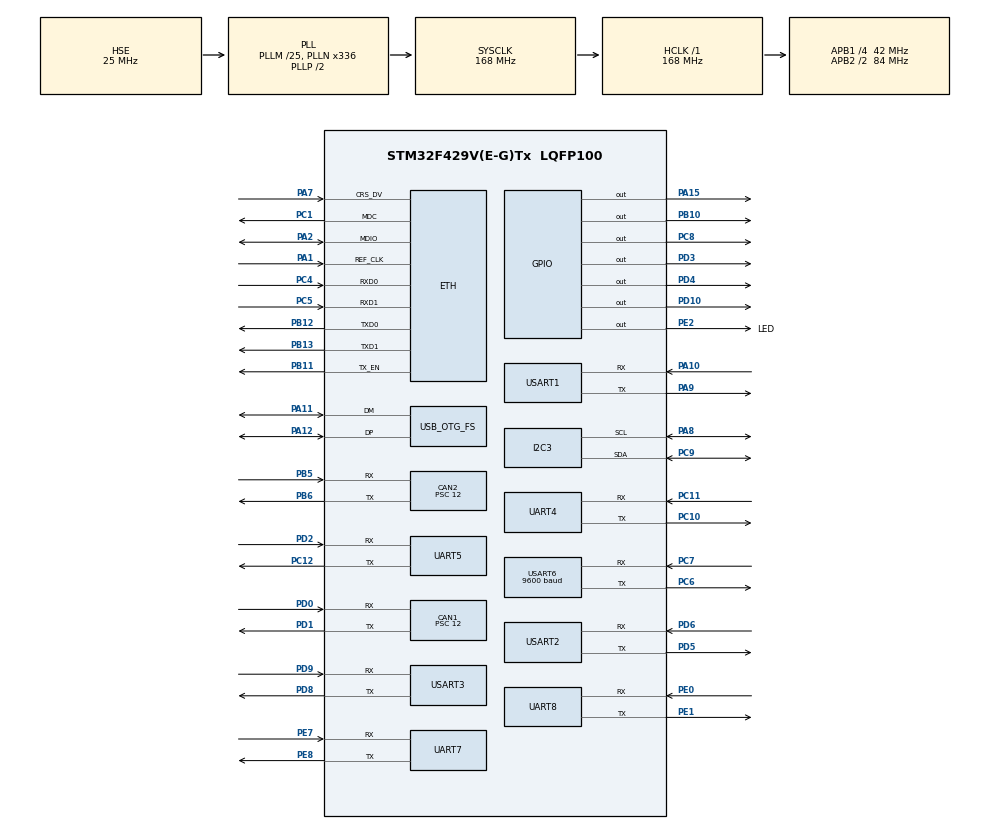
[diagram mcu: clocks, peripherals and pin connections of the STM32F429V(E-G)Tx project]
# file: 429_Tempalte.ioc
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CAN1.BS1=CAN_BS1_11TQ
CAN1.BS2=CAN_BS2_2TQ
CAN1.CalculateBaudRate=250000
CAN1.CalculateTimeBit=4000
CAN1.CalculateTimeQuantum=285.7142857142857
CAN1.Prescaler=12
CAN2.BS1=CAN_BS1_11TQ
CAN2.BS2=CAN_BS2_2TQ
CAN2.CalculateBaudRate=250000
CAN2.CalculateTimeBit=4000
CAN2.CalculateTimeQuantum=285.7142857142857
CAN2.Prescaler=12
Dma.Request0=UART7_RX
Dma.Request1=UART8_RX
Dma.Request10=UART5_TX
Dma.Request2=USART1_RX
Dma.Request3=USART1_TX
Dma.Request4=USART2_RX
Dma.Request5=USART3_RX
Dma.Request6=USART3_TX
Dma.Request7=USART6_RX
Dma.Request8=USART6_TX
Dma.Request9=UART4_RX
Dma.UART4_RX.9.Direction=DMA_PERIPH_TO_MEMORY
Dma.UART4_RX.9.FIFOMode=DMA_FIFOMODE_DISABLE
Dma.UART4_RX.9.Instance=DMA1_Stream2
Dma.UART4_RX.9.MemDataAlignment=DMA_MDATAALIGN_BYTE
Dma.UART4_RX.9.MemInc=DMA_MINC_ENABLE
Dma.UART4_RX.9.Mode=DMA_CIRCULAR
Dma.UART4_RX.9.PeriphDataAlignment=DMA_PDATAALIGN_BYTE
Dma.UART4_RX.9.PeriphInc=DMA_PINC_DISABLE
Dma.UART4_RX.9.Priority=DMA_PRIORITY_LOW
Dma.UART5_TX.10.Direction=DMA_MEMORY_TO_PERIPH
Dma.UART5_TX.10.FIFOMode=DMA_FIFOMODE_DISABLE
Dma.UART5_TX.10.Instance=DMA1_Stream7
Dma.UART5_TX.10.MemDataAlignment=DMA_MDATAALIGN_BYTE
Dma.UART5_TX.10.MemInc=DMA_MINC_ENABLE
Dma.UART5_TX.10.Mode=DMA_CIRCULAR
Dma.UART5_TX.10.PeriphDataAlignment=DMA_PDATAALIGN_BYTE
Dma.UART5_TX.10.PeriphInc=DMA_PINC_DISABLE
Dma.UART5_TX.10.Priority=DMA_PRIORITY_LOW
Dma.UART7_RX.0.Direction=DMA_PERIPH_TO_MEMORY
Dma.UART7_RX.0.FIFOMode=DMA_FIFOMODE_DISABLE
Dma.UART7_RX.0.Instance=DMA1_Stream3
Dma.UART7_RX.0.MemDataAlignment=DMA_MDATAALIGN_BYTE
Dma.UART7_RX.0.MemInc=DMA_MINC_ENABLE
Dma.UART7_RX.0.Mode=DMA_CIRCULAR
Dma.UART7_RX.0.PeriphDataAlignment=DMA_PDATAALIGN_BYTE
Dma.UART7_RX.0.PeriphInc=DMA_PINC_DISABLE
Dma.UART7_RX.0.Priority=DMA_PRIORITY_LOW
Dma.UART8_RX.1.Direction=DMA_PERIPH_TO_MEMORY
Dma.UART8_RX.1.FIFOMode=DMA_FIFOMODE_DISABLE
Dma.UART8_RX.1.Instance=DMA1_Stream6
Dma.UART8_RX.1.MemDataAlignment=DMA_MDATAALIGN_BYTE
Dma.UART8_RX.1.MemInc=DMA_MINC_ENABLE
Dma.UART8_RX.1.Mode=DMA_CIRCULAR
Dma.UART8_RX.1.PeriphDataAlignment=DMA_PDATAALIGN_BYTE
Dma.UART8_RX.1.PeriphInc=DMA_PINC_DISABLE
Dma.UART8_RX.1.Priority=DMA_PRIORITY_LOW
Dma.USART1_RX.2.Direction=DMA_PERIPH_TO_MEMORY
Dma.USART1_RX.2.FIFOMode=DMA_FIFOMODE_DISABLE
Dma.USART1_RX.2.Instance=DMA2_Stream2
Dma.USART1_RX.2.MemDataAlignment=DMA_MDATAALIGN_BYTE
Dma.USART1_RX.2.MemInc=DMA_MINC_ENABLE
Dma.USART1_RX.2.Mode=DMA_CIRCULAR
Dma.USART1_RX.2.PeriphDataAlignment=DMA_PDATAALIGN_BYTE
Dma.USART1_RX.2.PeriphInc=DMA_PINC_DISABLE
Dma.USART1_RX.2.Priority=DMA_PRIORITY_LOW
Dma.USART1_TX.3.Direction=DMA_MEMORY_TO_PERIPH
Dma.USART1_TX.3.FIFOMode=DMA_FIFOMODE_DISABLE
Dma.USART1_TX.3.Instance=DMA2_Stream7
Dma.USART1_TX.3.MemDataAlignment=DMA_MDATAALIGN_BYTE
Dma.USART1_TX.3.MemInc=DMA_MINC_ENABLE
Dma.USART1_TX.3.Mode=DMA_CIRCULAR
Dma.USART1_TX.3.PeriphDataAlignment=DMA_PDATAALIGN_BYTE
Dma.USART1_TX.3.PeriphInc=DMA_PINC_DISABLE
Dma.USART1_TX.3.Priority=DMA_PRIORITY_LOW
Dma.USART2_RX.4.Direction=DMA_PERIPH_TO_MEMORY
Dma.USART2_RX.4.FIFOMode=DMA_FIFOMODE_DISABLE
Dma.USART2_RX.4.Instance=DMA1_Stream5
Dma.USART2_RX.4.MemDataAlignment=DMA_MDATAALIGN_BYTE
Dma.USART2_RX.4.MemInc=DMA_MINC_ENABLE
Dma.USART2_RX.4.Mode=DMA_CIRCULAR
Dma.USART2_RX.4.PeriphDataAlignment=DMA_PDATAALIGN_BYTE
Dma.USART2_RX.4.PeriphInc=DMA_PINC_DISABLE
Dma.USART2_RX.4.Priority=DMA_PRIORITY_LOW
Dma.USART3_RX.5.Direction=DMA_PERIPH_TO_MEMORY
Dma.USART3_RX.5.FIFOMode=DMA_FIFOMODE_DISABLE
Dma.USART3_RX.5.Instance=DMA1_Stream1
Dma.USART3_RX.5.MemDataAlignment=DMA_MDATAALIGN_BYTE
Dma.USART3_RX.5.MemInc=DMA_MINC_ENABLE
Dma.USART3_RX.5.Mode=DMA_CIRCULAR
Dma.USART3_RX.5.PeriphDataAlignment=DMA_PDATAALIGN_BYTE
Dma.USART3_RX.5.PeriphInc=DMA_PINC_DISABLE
Dma.USART3_RX.5.Priority=DMA_PRIORITY_LOW
Dma.USART3_TX.6.Direction=DMA_MEMORY_TO_PERIPH
Dma.USART3_TX.6.FIFOMode=DMA_FIFOMODE_DISABLE
Dma.USART3_TX.6.Instance=DMA1_Stream4
Dma.USART3_TX.6.MemDataAlignment=DMA_MDATAALIGN_BYTE
Dma.USART3_TX.6.MemInc=DMA_MINC_ENABLE
Dma.USART3_TX.6.Mode=DMA_CIRCULAR
Dma.USART3_TX.6.PeriphDataAlignment=DMA_PDATAALIGN_BYTE
Dma.USART3_TX.6.PeriphInc=DMA_PINC_DISABLE
Dma.USART3_TX.6.Priority=DMA_PRIORITY_LOW
Dma.USART6_RX.7.Direction=DMA_PERIPH_TO_MEMORY
Dma.USART6_RX.7.FIFOMode=DMA_FIFOMODE_DISABLE
Dma.USART6_RX.7.Instance=DMA2_Stream1
Dma.USART6_RX.7.MemDataAlignment=DMA_MDATAALIGN_BYTE
Dma.USART6_RX.7.MemInc=DMA_MINC_ENABLE
Dma.USART6_RX.7.Mode=DMA_CIRCULAR
Dma.USART6_RX.7.PeriphDataAlignment=DMA_PDATAALIGN_BYTE
Dma.USART6_RX.7.PeriphInc=DMA_PINC_DISABLE
Dma.USART6_RX.7.Priority=DMA_PRIORITY_LOW
Dma.USART6_TX.8.Direction=DMA_MEMORY_TO_PERIPH
Dma.USART6_TX.8.FIFOMode=DMA_FIFOMODE_DISABLE
Dma.USART6_TX.8.Instance=DMA2_Stream6
Dma.USART6_TX.8.MemDataAlignment=DMA_MDATAALIGN_BYTE
Dma.USART6_TX.8.MemInc=DMA_MINC_ENABLE
Dma.USART6_TX.8.Mode=DMA_CIRCULAR
Dma.USART6_TX.8.PeriphDataAlignment=DMA_PDATAALIGN_BYTE
Dma.USART6_TX.8.PeriphInc=DMA_PINC_DISABLE
Dma.USART6_TX.8.Priority=DMA_PRIORITY_LOW
ETH.MediaInterface=HAL_ETH_RMII_MODE
FREERTOS.MEMORY_ALLOCATION=2
FREERTOS.Tasks01=defaultTask,0,1024,StartDefaultTask,Default,NULL,Dynamic,NULL,NULL;gxAA55SendfromCar,0,1024,GX_AA55_Send_From_CAR_Task,Default,NULL,Dynamic,NULL,NULL;gxAA55RecfromRemoter,2,1024,GX_AA55_REC_Task,Default,NULL,Dynamic,NULL,NULL;sbusReceive,2,1024,SBUS_REC_Task,Default,NULL,Dynamic,NULL,NULL;comMbH,0,1024,Common_Host_Task,Default,NULL,Dynamic,NULL,NULL;driverCtrl,2,1024,Driver_Control_Task,Default,NULL,Dynamic,NULL,NULL
FREERTOS.configENABLE_FPU=1
FREERTOS.configMAX_TASK_NAME_LEN=32
FREERTOS.configTICK_RATE_HZ=100
FREERTOS.configTOTAL_HEAP_SIZE=100000
FREERTOS.configUSE_COUNTING_SEMAPHORES=1
FREERTOS.configUSE_IDLE_HOOK=1
FREERTOS.configUSE_RECURSIVE_MUTEXES=1
FREERTOS.configUSE_TIMERS=1
LWIP.BSP.number=1
LWIP.GATEWAY_ADDRESS=192.168.001.001
LWIP.IP_ADDRESS=192.168.001.122
LWIP.LWIP_DHCP=0
LWIP.LWIP_TCP=1
LWIP.NETMASK_ADDRESS=255.255.255.000
LWIP.Version=v2.1.2_Cube
LWIP0.BSP.STBoard=false
LWIP0.BSP.api=BSP_COMPONENT_DRIVER
LWIP0.BSP.component=LAN8742
LWIP0.BSP.instance=LAN8742
LWIP0.BSP.name=Driver_PHY
LWIP0.BSP.semaphore=S_LAN8742
LWIP0.BSP.solution=LAN8742
Mcu.Family=STM32F4
Mcu.Name=STM32F429V(E-G)Tx
Mcu.Package=LQFP100
NVIC.CAN1_RX0_IRQn=true\:5\:0\:false\:false\:true\:true\:true\:true\:true
NVIC.CAN2_RX0_IRQn=true\:5\:0\:false\:false\:true\:true\:true\:true\:true
NVIC.DMA1_Stream1_IRQn=true\:5\:0\:false\:false\:true\:true\:false\:true\:true
NVIC.DMA1_Stream2_IRQn=true\:5\:0\:false\:false\:true\:true\:false\:true\:true
NVIC.DMA1_Stream3_IRQn=true\:5\:0\:false\:false\:true\:true\:false\:true\:true
NVIC.DMA1_Stream4_IRQn=true\:5\:0\:false\:false\:true\:true\:false\:true\:true
NVIC.DMA1_Stream5_IRQn=true\:5\:0\:false\:false\:true\:true\:false\:true\:true
NVIC.DMA1_Stream6_IRQn=true\:5\:0\:false\:false\:true\:true\:false\:true\:true
NVIC.DMA1_Stream7_IRQn=true\:5\:0\:false\:false\:true\:true\:false\:true\:true
NVIC.DMA2_Stream1_IRQn=true\:5\:0\:false\:false\:true\:true\:false\:true\:true
NVIC.DMA2_Stream2_IRQn=true\:5\:0\:false\:false\:true\:true\:false\:true\:true
NVIC.DMA2_Stream6_IRQn=true\:5\:0\:false\:false\:true\:true\:false\:true\:true
NVIC.DMA2_Stream7_IRQn=true\:5\:0\:false\:false\:true\:true\:false\:true\:true
NVIC.ETH_IRQn=true\:5\:0\:false\:false\:true\:true\:false\:true\:true
NVIC.FPU_IRQn=true\:5\:0\:false\:false\:true\:true\:true\:false\:true
NVIC.OTG_FS_IRQn=true\:5\:0\:false\:false\:true\:true\:false\:true\:true
NVIC.PriorityGroup=NVIC_PRIORITYGROUP_4
NVIC.TIM1_UP_TIM10_IRQn=true\:15\:0\:false\:false\:true\:false\:false\:true\:true
NVIC.TimeBase=TIM1_UP_TIM10_IRQn
NVIC.TimeBaseIP=TIM1
NVIC.UART4_IRQn=true\:5\:0\:false\:false\:true\:true\:true\:true\:true
NVIC.UART5_IRQn=true\:5\:0\:false\:false\:true\:true\:true\:true\:true
NVIC.UART7_IRQn=true\:5\:0\:false\:false\:true\:true\:true\:true\:true
NVIC.UART8_IRQn=true\:5\:0\:false\:false\:true\:true\:true\:true\:true
NVIC.USART1_IRQn=true\:5\:0\:false\:false\:true\:true\:true\:true\:true
NVIC.USART2_IRQn=true\:5\:0\:false\:false\:true\:true\:true\:true\:true
NVIC.USART3_IRQn=true\:5\:0\:false\:false\:true\:true\:true\:true\:true
NVIC.USART6_IRQn=true\:5\:0\:false\:false\:true\:true\:true\:true\:true
PA1.Mode=RMII
PA1.Signal=ETH_REF_CLK
PA10.Mode=Asynchronous
PA10.Signal=USART1_RX
PA11.Mode=Device_Only
PA11.Signal=USB_OTG_FS_DM
PA12.Mode=Device_Only
PA12.Signal=USB_OTG_FS_DP
PA13.Mode=Serial_Wire
PA13.Signal=SYS_JTMS-SWDIO
PA14.Mode=Serial_Wire
PA14.Signal=SYS_JTCK-SWCLK
PA15.Signal=GPIO_Output
PA2.Mode=RMII
PA2.Signal=ETH_MDIO
PA7.Mode=RMII
PA7.Signal=ETH_CRS_DV
PA8.Mode=I2C
PA8.Signal=I2C3_SCL
PA9.Mode=Asynchronous
PA9.Signal=USART1_TX
PB10.Signal=GPIO_Output
PB11.Mode=RMII
PB11.Signal=ETH_TX_EN
PB12.Mode=RMII
PB12.Signal=ETH_TXD0
PB13.Mode=RMII
PB13.Signal=ETH_TXD1
PB5.Mode=CAN_Activate
PB5.Signal=CAN2_RX
PB6.Mode=CAN_Activate
PB6.Signal=CAN2_TX
PC1.Mode=RMII
PC1.Signal=ETH_MDC
PC10.Mode=Asynchronous
PC10.Signal=UART4_TX
PC11.Mode=Asynchronous
PC11.Signal=UART4_RX
PC12.Mode=Asynchronous
PC12.Signal=UART5_TX
PC4.Mode=RMII
PC4.Signal=ETH_RXD0
PC5.Mode=RMII
PC5.Signal=ETH_RXD1
PC6.Mode=Asynchronous
PC6.Signal=USART6_TX
PC7.Mode=Asynchronous
PC7.Signal=USART6_RX
PC8.Signal=GPIO_Output
PC9.Mode=I2C
PC9.Signal=I2C3_SDA
PD0.Mode=CAN_Activate
PD0.Signal=CAN1_RX
PD1.Mode=CAN_Activate
PD1.Signal=CAN1_TX
PD10.Signal=GPIO_Output
PD14.Signal=S_TIM4_CH3
PD15.Signal=S_TIM4_CH4
PD2.Mode=Asynchronous
PD2.Signal=UART5_RX
PD3.Signal=GPIO_Output
PD4.Signal=GPIO_Output
PD5.Mode=Asynchronous
PD5.Signal=USART2_TX
PD6.Mode=Asynchronous
PD6.Signal=USART2_RX
PD8.Mode=Asynchronous
PD8.Signal=USART3_TX
PD9.Mode=Asynchronous
PD9.Signal=USART3_RX
PE0.Mode=Asynchronous
PE0.Signal=UART8_RX
PE1.Mode=Asynchronous
PE1.Signal=UART8_TX
PE2.GPIO_Label=LED
PE2.Signal=GPIO_Output
PE7.Mode=Asynchronous
PE7.Signal=UART7_RX
PE8.Mode=Asynchronous
PE8.Signal=UART7_TX
PH0/OSC_IN.Mode=HSE-External-Oscillator
PH0/OSC_IN.Signal=RCC_OSC_IN
PH1/OSC_OUT.Mode=HSE-External-Oscillator
PH1/OSC_OUT.Signal=RCC_OSC_OUT
ProjectManager.HeapSize=0x1000
ProjectManager.StackSize=0x2000
ProjectManager.TargetToolchain=MDK-ARM V5.32
RCC.48MHZClocksFreq_Value=48000000
RCC.AHBFreq_Value=168000000
RCC.APB1CLKDivider=RCC_HCLK_DIV4
RCC.APB1Freq_Value=42000000
RCC.APB1TimFreq_Value=84000000
RCC.APB2CLKDivider=RCC_HCLK_DIV2
RCC.APB2Freq_Value=84000000
RCC.APB2TimFreq_Value=168000000
RCC.CortexFreq_Value=168000000
RCC.HCLKFreq_Value=168000000
RCC.HSE_VALUE=25000000
RCC.HSI_VALUE=16000000
RCC.LSE_VALUE=32768
RCC.PLLM=25
RCC.PLLN=336
RCC.PLLQ=7
RCC.SYSCLKFreq_VALUE=168000000
RCC.SYSCLKSource=RCC_SYSCLKSOURCE_PLLCLK
RCC.VCOOutputFreq_Value=336000000
SH.S_TIM4_CH3.0=TIM4_CH3
SH.S_TIM4_CH4.0=TIM4_CH4
UART4.VirtualMode=Asynchronous
UART5.VirtualMode=Asynchronous
UART7.VirtualMode=Asynchronous
UART8.VirtualMode=Asynchronous
USART1.VirtualMode=VM_ASYNC
USART2.VirtualMode=VM_ASYNC
USART3.VirtualMode=VM_ASYNC
USART6.BaudRate=9600
USART6.VirtualMode=VM_ASYNC
USB_DEVICE.APP_RX_DATA_SIZE-CDC_FS=1024
USB_DEVICE.APP_TX_DATA_SIZE-CDC_FS=1024
USB_DEVICE.CLASS_NAME_FS=CDC
USB_DEVICE.VirtualMode-CDC_FS=Cdc
USB_DEVICE.VirtualModeFS=Cdc_FS
USB_OTG_FS.VirtualMode=Device_Only
VP_FREERTOS_VS_CMSIS_V1.Mode=CMSIS_V1
VP_LWIP_VS_Enabled.Mode=Enabled
VP_SYS_VS_tim1.Mode=TIM1
VP_USB_DEVICE_VS_USB_DEVICE_CDC_FS.Mode=CDC_FS
board=custom

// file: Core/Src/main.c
/* USER CODE BEGIN Header */
/**
  ******************************************************************************
  * @file           : main.c
  * @brief          : Main program body
  ******************************************************************************
  * @attention
  *
  * Copyright (c) 2024 STMicroelectronics.
  * All rights reserved.
  *
  * This software is licensed under terms that can be found in the LICENSE file
  * in the root directory of this software component.
  * If no LICENSE file comes with this software, it is provided AS-IS.
  *
  ******************************************************************************
  */
/* USER CODE END Header */
#include "main.h"
#include "cmsis_os.h"
#include "can.h"
#include "dma.h"
#include "i2c.h"
#include "lwip.h"
#include "usart.h"
#include "usb_device.h"
#include "gpio.h"

/* USER CODE BEGIN Includes */
#include "nc60_com.h"
#include "gx_aa55_frame.h"
#include "gx_can_frame.h"
/* USER CODE END Includes */

void SystemClock_Config(void);
void MX_FREERTOS_Init(void);

/* USER CODE BEGIN 0 */
uint8_t I2c_Buf_Read[8];
uint8_t I2c_Buf_Write[8] = {0,1,2,3,4,5,6,7};
/* USER CODE END 0 */

int main(void)
{

  /* MCU Configuration--------------------------------------------------------*/

  /* Reset of all peripherals, Initializes the Flash interface and the Systick. */
  HAL_Init();

  /* Configure the system clock */
  SystemClock_Config();

  /* Initialize all configured peripherals */
  MX_GPIO_Init();
  MX_DMA_Init();
  MX_CAN1_Init();
  MX_CAN2_Init();
  MX_I2C3_Init();
  MX_UART4_Init();
  MX_UART5_Init();
  MX_UART7_Init();
  MX_UART8_Init();
  MX_USART1_UART_Init();
  MX_USART2_UART_Init();
  MX_USART3_UART_Init();
  MX_USART6_UART_Init();
  /* USER CODE BEGIN 2 */
	UART_UNION_Init();
	gx_aa55Frame_init();
	gx_canFrame_init();
  StartReception();
	I2C_EE_BufferWrite(I2c_Buf_Write, 0, 5);
	I2C_EE_BufferRead(I2c_Buf_Read, 0, 5);
  /* USER CODE END 2 */

  /* Call init function for freertos objects (in freertos.c) */
  MX_FREERTOS_Init();
  /* Start scheduler */
  osKernelStart();

  /* We should never get here as control is now taken by the scheduler */
  /* Infinite loop */
  while (1)
  {

  }
}

void SystemClock_Config(void)
{
  RCC_OscInitTypeDef RCC_OscInitStruct = {0};
  RCC_ClkInitTypeDef RCC_ClkInitStruct = {0};

  /** Configure the main internal regulator output voltage
  */
  __HAL_RCC_PWR_CLK_ENABLE();
  __HAL_PWR_VOLTAGESCALING_CONFIG(PWR_REGULATOR_VOLTAGE_SCALE1);

  /** Initializes the RCC Oscillators according to the specified parameters
  * in the RCC_OscInitTypeDef structure.
  */
  RCC_OscInitStruct.OscillatorType = RCC_OSCILLATORTYPE_HSE;
  RCC_OscInitStruct.HSEState = RCC_HSE_ON;
  RCC_OscInitStruct.PLL.PLLState = RCC_PLL_ON;
  RCC_OscInitStruct.PLL.PLLSource = RCC_PLLSOURCE_HSE;
  RCC_OscInitStruct.PLL.PLLM = 25;
  RCC_OscInitStruct.PLL.PLLN = 336;
  RCC_OscInitStruct.PLL.PLLP = RCC_PLLP_DIV2;
  RCC_OscInitStruct.PLL.PLLQ = 7;
  if (HAL_RCC_OscConfig(&RCC_OscInitStruct) != HAL_OK)
  {
    Error_Handler();
  }

  /** Initializes the CPU, AHB and APB buses clocks
  */
  RCC_ClkInitStruct.ClockType = RCC_CLOCKTYPE_HCLK|RCC_CLOCKTYPE_SYSCLK
                              |RCC_CLOCKTYPE_PCLK1|RCC_CLOCKTYPE_PCLK2;
  RCC_ClkInitStruct.SYSCLKSource = RCC_SYSCLKSOURCE_PLLCLK;
  RCC_ClkInitStruct.AHBCLKDivider = RCC_SYSCLK_DIV1;
  RCC_ClkInitStruct.APB1CLKDivider = RCC_HCLK_DIV4;
  RCC_ClkInitStruct.APB2CLKDivider = RCC_HCLK_DIV2;

  if (HAL_RCC_ClockConfig(&RCC_ClkInitStruct, FLASH_LATENCY_5) != HAL_OK)
  {
    Error_Handler();
  }
}

void HAL_TIM_PeriodElapsedCallback(TIM_HandleTypeDef *htim)
{
  if (htim->Instance == TIM1) {
    HAL_IncTick();
  }
}

void Error_Handler(void)
{
  /* USER CODE BEGIN Error_Handler_Debug */
  /* User can add his own implementation to report the HAL error return state */
  __disable_irq();
  while (1)
  {
		#include "usbd_cdc_if.h"
		usbprintf("Error occured\r\n");
  }

  /* USER CODE END Error_Handler_Debug */
}

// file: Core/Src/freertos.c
/* USER CODE BEGIN Header */
/**
  ******************************************************************************
  * File Name          : freertos.c
  * Description        : Code for freertos applications
  ******************************************************************************
  * @attention
  *
  * Copyright (c) 2024 STMicroelectronics.
  * All rights reserved.
  *
  * This software is licensed under terms that can be found in the LICENSE file
  * in the root directory of this software component.
  * If no LICENSE file comes with this software, it is provided AS-IS.
  *
  ******************************************************************************
  */
/* USER CODE END Header */

#include "FreeRTOS.h"
#include "task.h"
#include "main.h"
#include "cmsis_os.h"

/* USER CODE BEGIN Includes */
#include "shell.h"
#include "app_udp.h"
#include "gx_aa55_frame.h"
#include "gx_can_frame.h"
#include "can.h"
#include "gx_ctrl.h"
#include "gpio.h"
/* USER CODE END Includes */

osThreadId defaultTaskHandle;
osThreadId gxAA55SendfromCarHandle;
osThreadId gxAA55RecfromRemoterHandle;
osThreadId sbusReceiveHandle;
osThreadId comMbHHandle;
osThreadId driverCtrlHandle;

void StartDefaultTask(void const * argument);
void GX_AA55_Send_From_CAR_Task(void const * argument);
void GX_AA55_REC_Task(void const * argument);
void SBUS_REC_Task(void const * argument);
void Common_Host_Task(void const * argument);
void Driver_Control_Task(void const * argument);

extern void MX_LWIP_Init(void);
extern void MX_USB_DEVICE_Init(void);
void MX_FREERTOS_Init(void); /* (MISRA C 2004 rule 8.1) */

/* GetIdleTaskMemory prototype (linked to static allocation support) */
void vApplicationGetIdleTaskMemory( StaticTask_t **ppxIdleTaskTCBBuffer, StackType_t **ppxIdleTaskStackBuffer, uint32_t *pulIdleTaskStackSize );

/* GetTimerTaskMemory prototype (linked to static allocation support) */
void vApplicationGetTimerTaskMemory( StaticTask_t **ppxTimerTaskTCBBuffer, StackType_t **ppxTimerTaskStackBuffer, uint32_t *pulTimerTaskStackSize );

/* Hook prototypes */
void vApplicationIdleHook(void);

/* USER CODE BEGIN 2 */
__weak void vApplicationIdleHook( void )
{
   /* vApplicationIdleHook() will only be called if configUSE_IDLE_HOOK is set
   to 1 in FreeRTOSConfig.h. It will be called on each iteration of the idle
   task. It is essential that code added to this hook function never attempts
   to block in any way (for example, call xQueueReceive() with a block time
   specified, or call vTaskDelay()). If the application makes use of the
   vTaskDelete() API function (as this demo application does) then it is also
   important that vApplicationIdleHook() is permitted to return to its calling
   function, because it is the responsibility of the idle task to clean up
   memory allocated by the kernel to any task that has since been deleted. */
}
/* USER CODE END 2 */

/* USER CODE BEGIN GET_IDLE_TASK_MEMORY */
static StaticTask_t xIdleTaskTCBBuffer;
static StackType_t xIdleStack[configMINIMAL_STACK_SIZE];

void vApplicationGetIdleTaskMemory( StaticTask_t **ppxIdleTaskTCBBuffer, StackType_t **ppxIdleTaskStackBuffer, uint32_t *pulIdleTaskStackSize )
{
  *ppxIdleTaskTCBBuffer = &xIdleTaskTCBBuffer;
  *ppxIdleTaskStackBuffer = &xIdleStack[0];
  *pulIdleTaskStackSize = configMINIMAL_STACK_SIZE;
  /* place for user code */
}
/* USER CODE END GET_IDLE_TASK_MEMORY */

/* USER CODE BEGIN GET_TIMER_TASK_MEMORY */
static StaticTask_t xTimerTaskTCBBuffer;
static StackType_t xTimerStack[configTIMER_TASK_STACK_DEPTH];

void vApplicationGetTimerTaskMemory( StaticTask_t **ppxTimerTaskTCBBuffer, StackType_t **ppxTimerTaskStackBuffer, uint32_t *pulTimerTaskStackSize )
{
  *ppxTimerTaskTCBBuffer = &xTimerTaskTCBBuffer;
  *ppxTimerTaskStackBuffer = &xTimerStack[0];
  *pulTimerTaskStackSize = configTIMER_TASK_STACK_DEPTH;
  /* place for user code */
}
/* USER CODE END GET_TIMER_TASK_MEMORY */

void MX_FREERTOS_Init(void) {

  /* Create the thread(s) */
  /* definition and creation of defaultTask */
  osThreadDef(defaultTask, StartDefaultTask, osPriorityNormal, 0, 1024);
  defaultTaskHandle = osThreadCreate(osThread(defaultTask), NULL);

  /* definition and creation of gxAA55SendfromCar */
  osThreadDef(gxAA55SendfromCar, GX_AA55_Send_From_CAR_Task, osPriorityNormal, 0, 1024);
  gxAA55SendfromCarHandle = osThreadCreate(osThread(gxAA55SendfromCar), NULL);

  /* definition and creation of gxAA55RecfromRemoter */
  osThreadDef(gxAA55RecfromRemoter, GX_AA55_REC_Task, osPriorityHigh, 0, 1024);
  gxAA55RecfromRemoterHandle = osThreadCreate(osThread(gxAA55RecfromRemoter), NULL);

  /* definition and creation of sbusReceive */
  osThreadDef(sbusReceive, SBUS_REC_Task, osPriorityHigh, 0, 1024);
  sbusReceiveHandle = osThreadCreate(osThread(sbusReceive), NULL);

  /* definition and creation of comMbH */
  osThreadDef(comMbH, Common_Host_Task, osPriorityNormal, 0, 1024);
  comMbHHandle = osThreadCreate(osThread(comMbH), NULL);

  /* definition and creation of driverCtrl */
  osThreadDef(driverCtrl, Driver_Control_Task, osPriorityHigh, 0, 1024);
  driverCtrlHandle = osThreadCreate(osThread(driverCtrl), NULL);

}

void StartDefaultTask(void const * argument)
{
  /* init code for LWIP */
  MX_LWIP_Init();

  /* init code for USB_DEVICE */
  MX_USB_DEVICE_Init();
  /* USER CODE BEGIN StartDefaultTask */
	userShellInit();
	udpecho_init();

  /* Infinite loop */
  for(;;)
  {
		HAL_GPIO_TogglePin(LED_GPIO_Port, LED_Pin);
    osDelay(100);
  }
  /* USER CODE END StartDefaultTask */
}

void GX_AA55_Send_From_CAR_Task(void const * argument)
{
  /* USER CODE BEGIN GX_AA55_Send_From_CAR_Task */
  /* Infinite loop */
	while(heart_frame01.pc_online == 0)
	osDelay(10000);
  for(;;)
  {
		gx_send_frame(0x21);
		gx_send_frame(0x22);
		gx_send_frame(0x23);
		gx_send_frame(0x24);
		gx_send_frame(0x25);
		gx_send_frame(0x26);
		gx_send_frame(0x27);
		gx_send_frame(0x28);
		gx_send_frame(0x29);
		gx_send_frame(0x2A);
		gx_send_frame(0x2B);

    heart_frame01.pc_online = heart_frame01.offline_cnt++>0x50?0x00:0x01;
		heart_frame01.offline_cnt = heart_frame01.offline_cnt>0x60?0x55:heart_frame01.offline_cnt;
		can_heart_12.bytes.byte_stru.communicationSta_remoter_mcu  = heart_frame01.pc_online;
    osDelay(50);
  }
  /* USER CODE END GX_AA55_Send_From_CAR_Task */
}

void GX_AA55_REC_Task(void const * argument)
{
  /* USER CODE BEGIN GX_AA55_REC_Task */
		osDelay(3000);
	//checkDebugMode();
  /* Infinite loop */
  for(;;)
  {
#if AA55_PORT_TYPE ==		UART
		if(uart_union[AA55_PORT].rx_state == 2)
		{
		  gx_aa55_receive_handler(uart_union[AA55_PORT].rx_buf,uart_union[AA55_PORT].rx_count);
			uart_union[AA55_PORT].rx_state = 0;
		}
#endif
		parse_a10_sbus();
    osDelay(1);
  }
  /* USER CODE END GX_AA55_REC_Task */
}

void SBUS_REC_Task(void const * argument)
{
  for(;;)
  {
    osDelay(1);
  }
}

void Common_Host_Task(void const * argument)
{
  /* USER CODE BEGIN Common_Host_Task */
  /* Infinite loop */

  for(;;)
  {
    osDelay(100);
  }
  /* USER CODE END Common_Host_Task */
}

void Driver_Control_Task(void const * argument)
{
  /* USER CODE BEGIN Driver_Control_Task */

  /* Infinite loop */
  for(;;)
  {
		can_send(&hcan1,(CAN_COMMON_FRAME*)&can_general_10);osDelay(10);
		can_send(&hcan1,(CAN_COMMON_FRAME*)&can_joystick_11);osDelay(10);
		can_send(&hcan1,(CAN_COMMON_FRAME*)&can_heart_12);osDelay(10);
		can_send(&hcan1,(CAN_COMMON_FRAME*)&can_fire_monitor_13);osDelay(10);

  }
  /* USER CODE END Driver_Control_Task */
}
